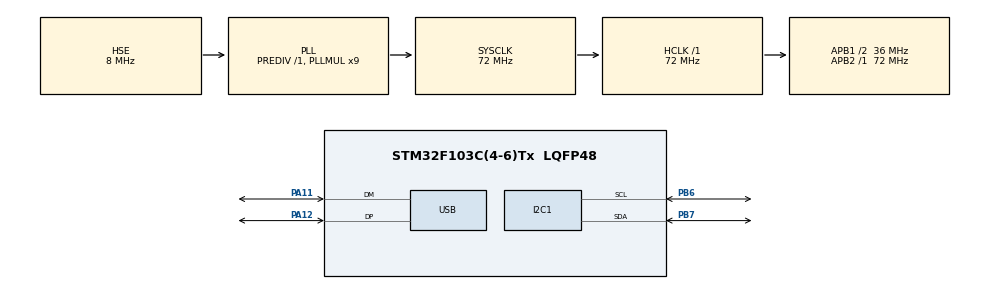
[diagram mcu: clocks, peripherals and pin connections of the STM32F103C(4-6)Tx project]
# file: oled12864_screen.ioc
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I2C1.I2C_Mode=I2C_Fast
Mcu.Family=STM32F1
Mcu.Name=STM32F103C(4-6)Tx
Mcu.Package=LQFP48
NVIC.PriorityGroup=NVIC_PRIORITYGROUP_4
NVIC.USB_LP_CAN1_RX0_IRQn=true\:0\:0\:false\:false\:true\:false\:true\:true
PA11.Mode=Device
PA11.Signal=USB_DM
PA12.Mode=Device
PA12.Signal=USB_DP
PA13.Mode=Serial_Wire
PA13.Signal=SYS_JTMS-SWDIO
PA14.Mode=Serial_Wire
PA14.Signal=SYS_JTCK-SWCLK
PB6.Mode=I2C
PB6.Signal=I2C1_SCL
PB7.Mode=I2C
PB7.Signal=I2C1_SDA
PD0-OSC_IN.Mode=HSE-External-Oscillator
PD0-OSC_IN.Signal=RCC_OSC_IN
PD1-OSC_OUT.Mode=HSE-External-Oscillator
PD1-OSC_OUT.Signal=RCC_OSC_OUT
ProjectManager.HeapSize=0x200
ProjectManager.StackSize=0x800
ProjectManager.TargetToolchain=MDK-ARM V5.32
RCC.AHBFreq_Value=72000000
RCC.APB1CLKDivider=RCC_HCLK_DIV2
RCC.APB1Freq_Value=36000000
RCC.APB1TimFreq_Value=72000000
RCC.APB2Freq_Value=72000000
RCC.APB2TimFreq_Value=72000000
RCC.HCLKFreq_Value=72000000
RCC.PLLMUL=RCC_PLL_MUL9
RCC.PLLSourceVirtual=RCC_PLLSOURCE_HSE
RCC.SYSCLKFreq_VALUE=72000000
RCC.SYSCLKSource=RCC_SYSCLKSOURCE_PLLCLK
RCC.USBFreq_Value=48000000
RCC.USBPrescaler=RCC_USBCLKSOURCE_PLL_DIV1_5
USB_DEVICE.CLASS_NAME_FS=CDC
USB_DEVICE.VirtualMode=Cdc
USB_DEVICE.VirtualModeFS=Cdc_FS
VP_USB_DEVICE_VS_USB_DEVICE_CDC_FS.Mode=CDC_FS
board=custom

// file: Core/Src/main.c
/* USER CODE BEGIN Header */
/**
  ******************************************************************************
  * @file           : main.c
  * @brief          : Main program body
  ******************************************************************************
  * @attention
  *
  * Copyright (c) 2025 STMicroelectronics.
  * All rights reserved.
  *
  * This software is licensed under terms that can be found in the LICENSE file
  * in the root directory of this software component.
  * If no LICENSE file comes with this software, it is provided AS-IS.
  *
  ******************************************************************************
  */
/* USER CODE END Header */
#include "main.h"
#include "i2c.h"
#include "usb_device.h"
#include "gpio.h"

/* USER CODE BEGIN Includes */
#include "oled.h"
#include "usbd_cdc_if.h"

/* USER CODE END Includes */

void SystemClock_Config(void);

int main(void)
{

  /* MCU Configuration--------------------------------------------------------*/

  /* Reset of all peripherals, Initializes the Flash interface and the Systick. */
  HAL_Init();

  /* Configure the system clock */
  SystemClock_Config();

  /* Initialize all configured peripherals */
  MX_GPIO_Init();
  MX_I2C1_Init();
  MX_USB_DEVICE_Init();
  /* USER CODE BEGIN 2 */

  OLED_Init();
  OLED_Clear();
  OLED_Display_On();
  OLED_Set_Pos(0, 0);

  uint8_t data[1024];
  uint16_t dataIndex = 0;
  /* USER CODE END 2 */

  /* Infinite loop */
  /* USER CODE BEGIN WHILE */
  while (1)
  {
    if (myUsbRxNum) {
      for (uint8_t i=0; i<64; i++) {
        data[dataIndex] = myUsbRxData[i];
        dataIndex++;
      }
      myUsbRxNum = 0;
      if (dataIndex >= 1024) {
        OLED_Draw12864BMP(data);
        dataIndex = 0;
        CDC_Transmit_FS((uint8_t *)"ok", 2);
      }
    }

    /* USER CODE END WHILE */

  }
}

void SystemClock_Config(void)
{
  RCC_OscInitTypeDef RCC_OscInitStruct = {0};
  RCC_ClkInitTypeDef RCC_ClkInitStruct = {0};
  RCC_PeriphCLKInitTypeDef PeriphClkInit = {0};

  /** Initializes the RCC Oscillators according to the specified parameters
  * in the RCC_OscInitTypeDef structure.
  */
  RCC_OscInitStruct.OscillatorType = RCC_OSCILLATORTYPE_HSE;
  RCC_OscInitStruct.HSEState = RCC_HSE_ON;
  RCC_OscInitStruct.HSEPredivValue = RCC_HSE_PREDIV_DIV1;
  RCC_OscInitStruct.HSIState = RCC_HSI_ON;
  RCC_OscInitStruct.PLL.PLLState = RCC_PLL_ON;
  RCC_OscInitStruct.PLL.PLLSource = RCC_PLLSOURCE_HSE;
  RCC_OscInitStruct.PLL.PLLMUL = RCC_PLL_MUL9;
  if (HAL_RCC_OscConfig(&RCC_OscInitStruct) != HAL_OK)
  {
    Error_Handler();
  }

  /** Initializes the CPU, AHB and APB buses clocks
  */
  RCC_ClkInitStruct.ClockType = RCC_CLOCKTYPE_HCLK|RCC_CLOCKTYPE_SYSCLK
                              |RCC_CLOCKTYPE_PCLK1|RCC_CLOCKTYPE_PCLK2;
  RCC_ClkInitStruct.SYSCLKSource = RCC_SYSCLKSOURCE_PLLCLK;
  RCC_ClkInitStruct.AHBCLKDivider = RCC_SYSCLK_DIV1;
  RCC_ClkInitStruct.APB1CLKDivider = RCC_HCLK_DIV2;
  RCC_ClkInitStruct.APB2CLKDivider = RCC_HCLK_DIV1;

  if (HAL_RCC_ClockConfig(&RCC_ClkInitStruct, FLASH_LATENCY_2) != HAL_OK)
  {
    Error_Handler();
  }
  PeriphClkInit.PeriphClockSelection = RCC_PERIPHCLK_USB;
  PeriphClkInit.UsbClockSelection = RCC_USBCLKSOURCE_PLL_DIV1_5;
  if (HAL_RCCEx_PeriphCLKConfig(&PeriphClkInit) != HAL_OK)
  {
    Error_Handler();
  }
}

void Error_Handler(void)
{
  __disable_irq();
  while (1)
  {
  }
}
